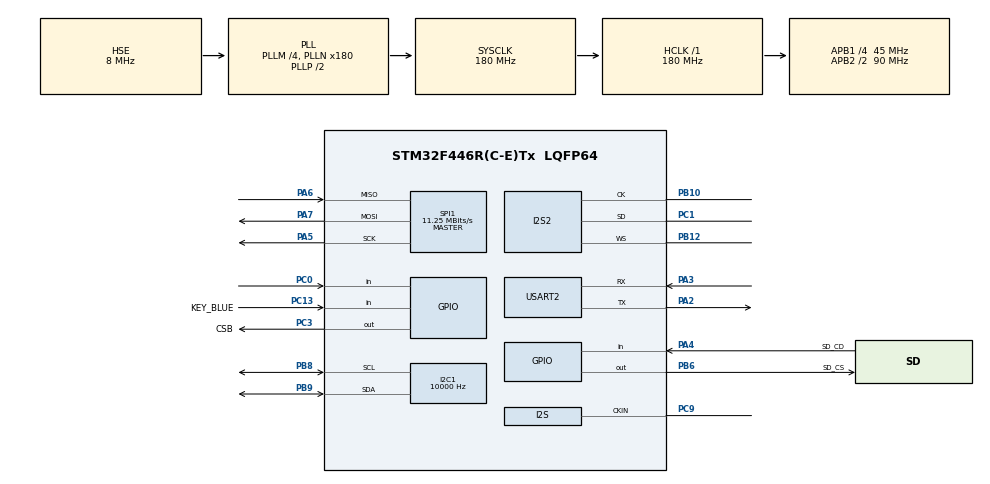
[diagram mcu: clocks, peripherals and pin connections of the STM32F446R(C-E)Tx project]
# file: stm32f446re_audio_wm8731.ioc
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Dma.Request0=SPI2_TX
Dma.SPI2_TX.0.Direction=DMA_MEMORY_TO_PERIPH
Dma.SPI2_TX.0.FIFOMode=DMA_FIFOMODE_DISABLE
Dma.SPI2_TX.0.Instance=DMA1_Stream4
Dma.SPI2_TX.0.MemDataAlignment=DMA_MDATAALIGN_HALFWORD
Dma.SPI2_TX.0.MemInc=DMA_MINC_ENABLE
Dma.SPI2_TX.0.Mode=DMA_CIRCULAR
Dma.SPI2_TX.0.PeriphDataAlignment=DMA_PDATAALIGN_HALFWORD
Dma.SPI2_TX.0.PeriphInc=DMA_PINC_DISABLE
Dma.SPI2_TX.0.Priority=DMA_PRIORITY_LOW
FATFS._USE_LFN=1
I2C1.ClockSpeed=10000
I2S2.AudioFreq=I2S_AUDIOFREQ_48K
I2S2.ErrorAudioFreq=0.0 %
I2S2.FullDuplexMode=I2S_FULLDUPLEXMODE_DISABLE
I2S2.Instance=SPI$Index
I2S2.RealAudioFreq=48.0 KHz
I2S2.VirtualMode=I2S_MODE_MASTER
Mcu.Family=STM32F4
Mcu.Name=STM32F446R(C-E)Tx
Mcu.Package=LQFP64
NVIC.DMA1_Stream4_IRQn=true\:0\:0\:false\:false\:true\:false\:true
NVIC.PriorityGroup=NVIC_PRIORITYGROUP_0
PA13.Mode=Serial_Wire
PA13.Signal=SYS_JTMS-SWDIO
PA14.Mode=Serial_Wire
PA14.Signal=SYS_JTCK-SWCLK
PA2.GPIO_Mode=GPIO_MODE_AF_PP
PA2.GPIO_PuPd=GPIO_PULLUP
PA2.GPIO_Speed=GPIO_SPEED_FREQ_VERY_HIGH
PA2.Mode=Asynchronous
PA2.Signal=USART2_TX
PA3.GPIO_Mode=GPIO_MODE_AF_PP
PA3.GPIO_PuPd=GPIO_PULLUP
PA3.GPIO_Speed=GPIO_SPEED_FREQ_VERY_HIGH
PA3.Mode=Asynchronous
PA3.Signal=USART2_RX
PA4.GPIO_Label=SD_CD
PA4.Signal=GPIO_Input
PA5.Mode=Full_Duplex_Master
PA5.Signal=SPI1_SCK
PA6.Mode=Full_Duplex_Master
PA6.Signal=SPI1_MISO
PA7.Mode=Full_Duplex_Master
PA7.Signal=SPI1_MOSI
PB10.Mode=Half_Duplex_Master
PB10.Signal=I2S2_CK
PB12.Mode=Half_Duplex_Master
PB12.Signal=I2S2_WS
PB3.Signal=SYS_JTDO-SWO
PB6.GPIO_Label=SD_CS
PB6.Signal=GPIO_Output
PB8.GPIO_Mode=GPIO_MODE_AF_OD
PB8.GPIO_Pu=GPIO_PULLUP
PB8.GPIO_Speed=GPIO_SPEED_FREQ_VERY_HIGH
PB8.Mode=I2C
PB8.Signal=I2C1_SCL
PB9.GPIO_Mode=GPIO_MODE_AF_OD
PB9.GPIO_Pu=GPIO_PULLUP
PB9.GPIO_Speed=GPIO_SPEED_FREQ_VERY_HIGH
PB9.Mode=I2C
PB9.Signal=I2C1_SDA
PC0.GPIO_Mode=GPIO_MODE_INPUT
PC0.GPIO_PuPd=GPIO_NOPULL
PC0.Signal=GPIO_Input
PC1.Mode=Half_Duplex_Master
PC1.Signal=I2S2_SD
PC13.GPIO_Label=KEY_BLUE
PC13.Signal=GPIO_Input
PC14-OSC32_IN.Mode=LSE-External-Oscillator
PC14-OSC32_IN.Signal=RCC_OSC32_IN
PC15-OSC32_OUT.Mode=LSE-External-Oscillator
PC15-OSC32_OUT.Signal=RCC_OSC32_OUT
PC3.GPIO_Label=CSB
PC3.Signal=GPIO_Output
PC9.Mode=Audio_ClockIn
PC9.Signal=I2S_CKIN
PH0-OSC_IN.Mode=HSE-External-Oscillator
PH0-OSC_IN.Signal=RCC_OSC_IN
PH1-OSC_OUT.Mode=HSE-External-Oscillator
PH1-OSC_OUT.Signal=RCC_OSC_OUT
ProjectManager.HeapSize=0x800
ProjectManager.StackSize=0x800
ProjectManager.TargetToolchain=STM32CubeIDE
RCC.48MHZClocksFreq_Value=84000000
RCC.AHBFreq_Value=180000000
RCC.APB1CLKDivider=RCC_HCLK_DIV4
RCC.APB1Freq_Value=45000000
RCC.APB1TimFreq_Value=90000000
RCC.APB2CLKDivider=RCC_HCLK_DIV2
RCC.APB2Freq_Value=90000000
RCC.APB2TimFreq_Value=180000000
RCC.CortexFreq_Value=180000000
RCC.FLatency-AdvancedSettings=FLASH_LATENCY_5
RCC.HCLKFreq_Value=180000000
RCC.HSE_VALUE=8000000
RCC.HSI_VALUE=16000000
RCC.I2S1CLockSelection=RCC_I2SAPB1CLKSOURCE_EXT
RCC.PLLI2SM=4
RCC.PLLI2SN=50
RCC.PLLM=4
RCC.PLLN=180
RCC.PLLQ=8
RCC.PLLSourceVirtual=RCC_PLLSOURCE_HSE
RCC.SYSCLKFreq_VALUE=180000000
RCC.SYSCLKSource=RCC_SYSCLKSOURCE_PLLCLK
RCC.USBFreq_Value=45000000
RCC.VCOOutputFreq_Value=360000000
SPI1.BaudRatePrescaler=SPI_BAUDRATEPRESCALER_8
SPI1.CalculateBaudRate=11.25 MBits/s
SPI1.Direction=SPI_DIRECTION_2LINES
SPI1.Mode=SPI_MODE_MASTER
SPI1.VirtualType=VM_MASTER
USART2.VirtualMode=VM_ASYNC
VP_FATFS_VS_Generic.Mode=User_defined
board=NUCLEO-F446RE

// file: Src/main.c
/* USER CODE BEGIN Header */
/**
 ******************************************************************************
 * @file           : main.c
 * @brief          : Main program body
 ******************************************************************************
 * This notice applies to any and all portions of this file
 * that are not between comment pairs USER CODE BEGIN and
 * USER CODE END. Other portions of this file, whether
 * inserted by the user or by software development tools
 * are owned by their respective copyright owners.
 *
 * Copyright (c) 2019 STMicroelectronics International N.V.
 * All rights reserved.
 *
 * Redistribution and use in source and binary forms, with or without
 * modification, are permitted, provided that the following conditions are met:
 *
 * 1. Redistribution of source code must retain the above copyright notice,
 *    this list of conditions and the following disclaimer.
 * 2. Redistributions in binary form must reproduce the above copyright notice,
 *    this list of conditions and the following disclaimer in the documentation
 *    and/or other materials provided with the distribution.
 * 3. Neither the name of STMicroelectronics nor the names of other
 *    contributors to this software may be used to endorse or promote products
 *    derived from this software without specific written permission.
 * 4. This software, including modifications and/or derivative works of this
 *    software, must execute solely and exclusively on microcontroller or
 *    microprocessor devices manufactured by or for STMicroelectronics.
 * 5. Redistribution and use of this software other than as permitted under
 *    this license is void and will automatically terminate your rights under
 *    this license.
 *
 * THIS SOFTWARE IS PROVIDED BY STMICROELECTRONICS AND CONTRIBUTORS "AS IS"
 * AND ANY EXPRESS, IMPLIED OR STATUTORY WARRANTIES, INCLUDING, BUT NOT
 * LIMITED TO, THE IMPLIED WARRANTIES OF MERCHANTABILITY, FITNESS FOR A
 * PARTICULAR PURPOSE AND NON-INFRINGEMENT OF THIRD PARTY INTELLECTUAL PROPERTY
 * RIGHTS ARE DISCLAIMED TO THE FULLEST EXTENT PERMITTED BY LAW. IN NO EVENT
 * SHALL STMICROELECTRONICS OR CONTRIBUTORS BE LIABLE FOR ANY DIRECT, INDIRECT,
 * INCIDENTAL, SPECIAL, EXEMPLARY, OR CONSEQUENTIAL DAMAGES (INCLUDING, BUT NOT
 * LIMITED TO, PROCUREMENT OF SUBSTITUTE GOODS OR SERVICES; LOSS OF USE, DATA,
 * OR PROFITS; OR BUSINESS INTERRUPTION) HOWEVER CAUSED AND ON ANY THEORY OF
 * LIABILITY, WHETHER IN CONTRACT, STRICT LIABILITY, OR TORT (INCLUDING
 * NEGLIGENCE OR OTHERWISE) ARISING IN ANY WAY OUT OF THE USE OF THIS SOFTWARE,
 * EVEN IF ADVISED OF THE POSSIBILITY OF SUCH DAMAGE.
 *
 ******************************************************************************
 */
/* USER CODE END Header */
#include "main.h"
#include "dma.h"
#include "fatfs.h"
#include "i2c.h"
#include "i2s.h"
#include "spi.h"
#include "usart.h"
#include "gpio.h"

/* USER CODE BEGIN Includes */
#include "wm8731.h"
#include "stdbool.h"
#include "ff.h"
#include "adpcm.h"
#include <stdio.h>
#include "string.h"
#include "stm32_adafruit_sd.h"
#include "sd_diskio.h"
#include "misc_utils.h"
/* USER CODE END Includes */

void SystemClock_Config(void);
/* USER CODE BEGIN PFP */
void ADPCM_Play_File(FIL *file);
void WAV_Play_File(FIL *file);
/* USER CODE END PFP */

/* USER CODE BEGIN 0 */

int _write(int file, char *ptr, int len) {
	(void) file;
//	SEGGER_RTT_Write(0, ptr, len);
	HAL_UART_Transmit(&huart2, (uint8_t*) ptr, len, 1000);
	return len;
}

gpio_t sd_cs = { SD_CS_GPIO_Port, SD_CS_Pin };
gpio_t i2s_csb = { CSB_GPIO_Port, CSB_Pin };

gpio_t key_blue = {KEY_BLUE_GPIO_Port,KEY_BLUE_Pin};

void cs_pins_init() {
	digitalWrite(sd_cs, HIGH);
	digitalWrite(i2s_csb, LOW);
}

bool check_next_request() {
	if(digitalRead(key_blue) == LOW) {
		return true;
	} else {
		return false;
	}
}

FATFS SD_FatFs;

bool mass_storage_mount() {
	FATFS_UnLinkDriver(USERPath);
	uint8_t retUSER = FATFS_LinkDriver(&SD_Driver, USERPath);
	if (retUSER == 0) {
		if (BSP_SD_Init() != MSD_OK) {
			printf("BSP_SD_Init error.\n");
			return false;
		}
		if (f_mount(&SD_FatFs, (TCHAR const*) "/", 0) != FR_OK) {
			printf("f_mount error.\n");
			return false;
		}
	}
	return true;
}

bool mass_storage_list_files(const char *path_prefix,bool adpcm) {
	DIR dir;
	FRESULT result;
	result = f_opendir(&dir, path_prefix);
	if (result != FR_OK) {
		printf("f_opendir error: %d\n", result);
		return false;
	}

	FILINFO info;
	for (;;) {
		result = f_readdir(&dir, &info);
		if (result != FR_OK || info.fname[0] == 0) {
			break;
		}
		if (info.fname[0] == '.') {
			continue;
		}
		printf("\n\nGot file: %s\n", info.fname);

		char fullpath[320];
		snprintf(fullpath, sizeof(fullpath) - 1, "%s/%s", path_prefix, info.fname);

		FIL file;
		result = f_open(&file, fullpath, FA_READ);
		if (result != FR_OK) {
			printf("f_open error: %d\n", result);
			break;
		}
		if(adpcm) {
			ADPCM_Play_File(&file);
		} else {
			WAV_Play_File(&file);
		}
		f_close(&file);
		delay(1000);
	}

	f_closedir(&dir);
	return true;
}

__IO uint8_t I2S_TX_CPLT = 0;

void HAL_I2S_TxCpltCallback(I2S_HandleTypeDef *hi2s) {
	/* Prevent unused argument(s) compilation warning */
	UNUSED(hi2s);
	I2S_TX_CPLT = 1;
}

//__IO uint8_t I2S_TX_HALF_CPLT = 0;

void HAL_I2S_TxHalfCpltCallback(I2S_HandleTypeDef *hi2s) {
	/* Prevent unused argument(s) compilation warning */
	UNUSED(hi2s);
	I2S_TX_CPLT = 1;
}

uint8_t block[2048];
uint16_t samples[2][4082];

/**
 * Support play ADPCM WAV file.
 * Audio: IMA ADPCM 48000Hz stereo 385kbps
 * [A: adpcm_ima_wav, 48000 Hz, 2 channels, s16, 385 kb/s]
 * Example:
 *
 * General
 * Format                         : Wave
 * File size                      : 11.5 MiB
 * Duration                       : 4 min 10 s
 * Overall bit rate mode          : Constant
 * Overall bit rate               : 384 kb/s
 *
 * Audio
 * Format                         : ADPCM
 * Codec ID                       : 11
 * Codec ID/Hint                  : Intel
 * Duration                       : 4 min 10 s
 * Bit rate mode                  : Constant
 * Bit rate                       : 384 kb/s
 * Channel(s)                     : 2 channels
 * Sampling rate                  : 48.0 kHz
 * Bit depth                      : 4 bits
 * Stream size                    : 11.5 MiB (100%)
 *
 */

void ADPCM_Play_File(FIL *file) {
	FRESULT result;
	unsigned int nread = 0;
	f_rewind(file);
	IMA_ADPCM_HEADER header;
	result = f_read(file, &header, sizeof(header), &nread);
	if (result != FR_OK) {
		printf("f_read error: %d\n", result);
		while (1)
			;
	}
	ADPCM_WaveParsing(&header);

	int8_t samples_index = 0;

	memset(samples, 0, 4082 * 2 * 2);
	HAL_I2S_Transmit_DMA(&hi2s2, samples[0], 4082 * 2);

	while (!f_eof(file)) {

		if(check_next_request()) {
			printf("Play next file.\n");
			break;
		}

		result = f_read(file, block, sizeof(block), &nread);
		if (result != FR_OK) {
			printf("f_read error: %d\n", result);
			while (1)
				;
		}

		while (I2S_TX_CPLT == 0)
			;
		I2S_TX_CPLT = 0;

		int32_t left_predsample = *((int16_t*) (block + 0));
		int16_t left_index = block[2];

		int32_t right_predsample = *((int16_t*) (block + 4));
		int16_t right_index = block[6];

		//memset(samples[samples_index],0,4082*2);

		int samples_i = 0;
		samples[samples_index][samples_i] = left_predsample;
		samples_i++;
		samples[samples_index][samples_i] = right_predsample;
		samples_i++;

		uint8_t code;

		ADPCM_Block_Init(left_index, left_predsample);
		for (int i = 8; i < 2048;) {
			//left channel
			code = (block[i] & 0x0F);
			samples[samples_index][samples_i] = ADPCM_Decode(code);
			samples_i += 2;
			code = (block[i] >> 4);
			samples[samples_index][samples_i] = ADPCM_Decode(code);
			samples_i += 2;

			i++;
			code = (block[i] & 0x0F);
			samples[samples_index][samples_i] = ADPCM_Decode(code);
			samples_i += 2;
			code = (block[i] >> 4);
			samples[samples_index][samples_i] = ADPCM_Decode(code);
			samples_i += 2;

			i++;
			code = (block[i] & 0x0F);
			samples[samples_index][samples_i] = ADPCM_Decode(code);
			samples_i += 2;
			code = (block[i] >> 4);
			samples[samples_index][samples_i] = ADPCM_Decode(code);
			samples_i += 2;

			i++;
			code = (block[i] & 0x0F);
			samples[samples_index][samples_i] = ADPCM_Decode(code);
			samples_i += 2;
			code = (block[i] >> 4);
			samples[samples_index][samples_i] = ADPCM_Decode(code);
			samples_i += 2;

			i += 5;
		}

		samples_i = 3;
		ADPCM_Block_Init(right_index, right_predsample);
		for (int i = 12; i < 2048;) {
			//right channel
			code = (block[i] & 0x0F);
			samples[samples_index][samples_i] = ADPCM_Decode(code);
			samples_i += 2;
			code = (block[i] >> 4);
			samples[samples_index][samples_i] = ADPCM_Decode(code);
			samples_i += 2;

			i++;
			code = (block[i] & 0x0F);
			samples[samples_index][samples_i] = ADPCM_Decode(code);
			samples_i += 2;
			code = (block[i] >> 4);
			samples[samples_index][samples_i] = ADPCM_Decode(code);
			samples_i += 2;

			i++;
			code = (block[i] & 0x0F);
			samples[samples_index][samples_i] = ADPCM_Decode(code);
			samples_i += 2;
			code = (block[i] >> 4);
			samples[samples_index][samples_i] = ADPCM_Decode(code);
			samples_i += 2;

			i++;
			code = (block[i] & 0x0F);
			samples[samples_index][samples_i] = ADPCM_Decode(code);
			samples_i += 2;
			code = (block[i] >> 4);
			samples[samples_index][samples_i] = ADPCM_Decode(code);
			samples_i += 2;

			i += 5;
		}
		samples_index = 1 - samples_index;
	}
	HAL_I2S_DMAStop(&hi2s2);
}

/**
 * Support play WAV file.
 *
 General
 Format                         : Wave
 File size                      : 59.1 MiB
 Duration                       : 5 min 14 s
 Overall bit rate mode          : Constant
 Overall bit rate               : 1 577 kb/s

 Audio
 Format                         : PCM
 Format settings, Endianness    : Little
 Format settings, Sign          : Signed
 Codec ID                       : 1
 Duration                       : 5 min 14 s
 Bit rate mode                  : Constant
 Bit rate                       : 1 536 kb/s
 Channel(s)                     : 2 channels
 Sampling rate                  : 48.0 kHz
 Bit depth                      : 16 bits
 Stream size                    : 57.6 MiB (97%)

 */

void WAV_Play_File(FIL *file) {
	FRESULT result;
	unsigned int nread = 0;
	f_rewind(file);
	WAV_PCM_HEADER header;
	result = f_read(file, &header, sizeof(header), &nread);
	if (result != FR_OK) {
		printf("f_read error: %d\n", result);
		while (1)
			;
	}
	WAV_PCM_WaveParsing(&header);
	int8_t samples_index = 0;

	memset(samples, 0, 4082 * 2 * 2);
	HAL_I2S_Transmit_DMA(&hi2s2, samples[0], 4082 * 2);

	while (!f_eof(file)) {

		if(check_next_request()) {
			printf("Play next file.\n");
			break;
		}

		while (I2S_TX_CPLT == 0)
			;
		I2S_TX_CPLT = 0;

		result = f_read(file, samples[samples_index], 4082 * 2, &nread);
		if (result != FR_OK) {
			printf("f_read error: %d\n", result);
			while (1)
				;
		}

		samples_index = 1 - samples_index;
	}
	HAL_I2S_DMAStop(&hi2s2);
}

/* USER CODE END 0 */

int main(void)
{

  /* MCU Configuration--------------------------------------------------------*/

  /* Reset of all peripherals, Initializes the Flash interface and the Systick. */
  HAL_Init();

  /* Configure the system clock */
  SystemClock_Config();

  /* Initialize all configured peripherals */
  MX_GPIO_Init();
  MX_DMA_Init();
  MX_USART2_UART_Init();
  MX_I2S2_Init();
  MX_I2C1_Init();
  MX_SPI1_Init();
  MX_FATFS_Init();
  /* USER CODE BEGIN 2 */

	cs_pins_init();
	wm8731_dac_init();

	if (!mass_storage_mount()) {
		Error_Handler();
	}

	while(1) {
		mass_storage_list_files("/wav",false);
	}

//	while (1)
//		;
//
//	FIL file;
//	FRESULT result = f_open(&file, "adpcm.wav", FA_READ);
//	if (result != FR_OK) {
//		printf("f_open error: %d\n", result);
//		while (1)
//			;
//	}

  /* USER CODE END 2 */

  /* Infinite loop */
	while (1) {

    /* USER CODE BEGIN 3 */
//		printf("Begin to play music!\n");
//		f_rewind(&file);
//		ADPCM_Play_File(&file);
//		delay(1000);

	}
  /* USER CODE END 3 */
}

void SystemClock_Config(void)
{
  RCC_OscInitTypeDef RCC_OscInitStruct = {0};
  RCC_ClkInitTypeDef RCC_ClkInitStruct = {0};

  /** Configure the main internal regulator output voltage
  */
  __HAL_RCC_PWR_CLK_ENABLE();
  __HAL_PWR_VOLTAGESCALING_CONFIG(PWR_REGULATOR_VOLTAGE_SCALE1);
  /** Initializes the RCC Oscillators according to the specified parameters
  * in the RCC_OscInitTypeDef structure.
  */
  RCC_OscInitStruct.OscillatorType = RCC_OSCILLATORTYPE_HSE;
  RCC_OscInitStruct.HSEState = RCC_HSE_ON;
  RCC_OscInitStruct.PLL.PLLState = RCC_PLL_ON;
  RCC_OscInitStruct.PLL.PLLSource = RCC_PLLSOURCE_HSE;
  RCC_OscInitStruct.PLL.PLLM = 4;
  RCC_OscInitStruct.PLL.PLLN = 180;
  RCC_OscInitStruct.PLL.PLLP = RCC_PLLP_DIV2;
  RCC_OscInitStruct.PLL.PLLQ = 8;
  RCC_OscInitStruct.PLL.PLLR = 2;
  if (HAL_RCC_OscConfig(&RCC_OscInitStruct) != HAL_OK)
  {
    Error_Handler();
  }
  /** Activate the Over-Drive mode
  */
  if (HAL_PWREx_EnableOverDrive() != HAL_OK)
  {
    Error_Handler();
  }
  /** Initializes the CPU, AHB and APB buses clocks
  */
  RCC_ClkInitStruct.ClockType = RCC_CLOCKTYPE_HCLK|RCC_CLOCKTYPE_SYSCLK
                              |RCC_CLOCKTYPE_PCLK1|RCC_CLOCKTYPE_PCLK2;
  RCC_ClkInitStruct.SYSCLKSource = RCC_SYSCLKSOURCE_PLLCLK;
  RCC_ClkInitStruct.AHBCLKDivider = RCC_SYSCLK_DIV1;
  RCC_ClkInitStruct.APB1CLKDivider = RCC_HCLK_DIV4;
  RCC_ClkInitStruct.APB2CLKDivider = RCC_HCLK_DIV2;

  if (HAL_RCC_ClockConfig(&RCC_ClkInitStruct, FLASH_LATENCY_5) != HAL_OK)
  {
    Error_Handler();
  }
}

void Error_Handler(void)
{
}

/************************ (C) COPYRIGHT STMicroelectronics *****END OF FILE****/
